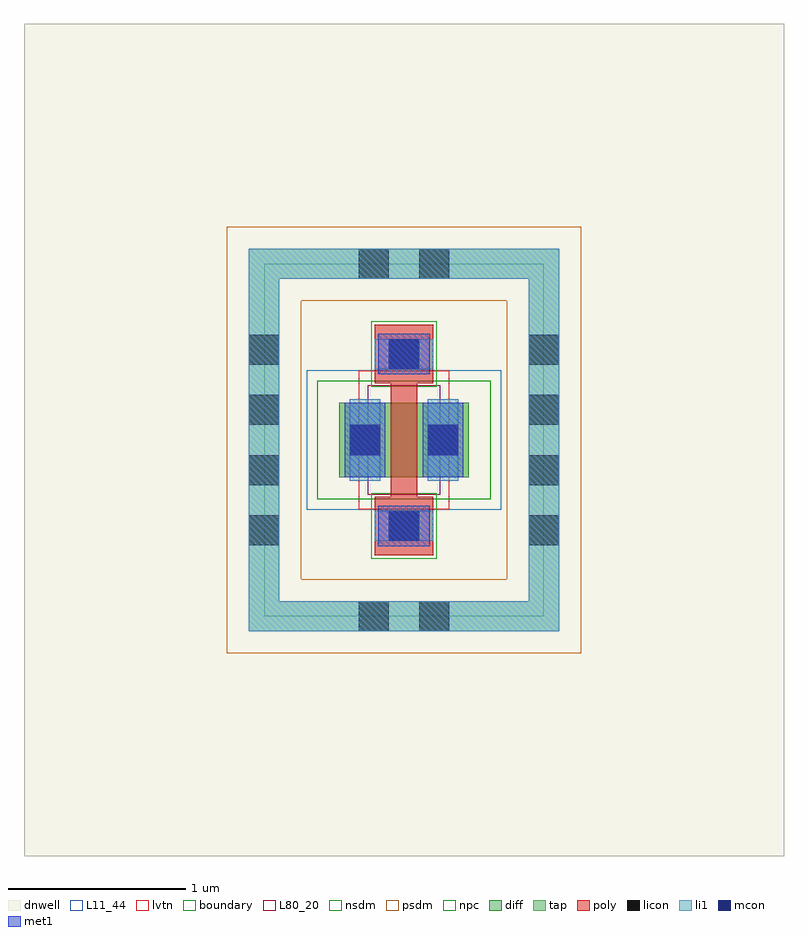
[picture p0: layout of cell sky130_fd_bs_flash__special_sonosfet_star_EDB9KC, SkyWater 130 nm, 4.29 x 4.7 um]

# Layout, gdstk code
import gdstk
lib = gdstk.Library(unit=1e-6, precision=1e-09)
def R(c, l, rs):  # rectangles x0, y0, x1, y1
    for r in rs: c.add(gdstk.rectangle(r[:2], r[2:], *l))
def A(c, l, x, y, w, h, nx, ny, dx, dy):  # array of equal rectangles
    R(c, l, [(x+i*dx, y+j*dy, x+i*dx+w, y+j*dy+h) for i in range(nx) for j in range(ny)])
L11_44 = (11, 44)
dnwell = (64, 18)
diff = (65, 20)
tap = (65, 44)
poly = (66, 20)
licon = (66, 44)
li1 = (67, 20)
mcon = (67, 44)
met1 = (68, 20)
L80_20 = (80, 20)
nsdm = (93, 44)
psdm = (94, 20)
npc = (95, 20)
lvtn = (125, 44)
boundary = (235, 4)

sky130_fd_bs_flash__spec = lib.new_cell('sky130_fd_bs_flash__special_sonosfet_star_EDB9KC')
R(sky130_fd_bs_flash__spec, L11_44, [(-0.55,-0.395,0.55,0.395)])
R(sky130_fd_bs_flash__spec, dnwell, [(-2.145,-2.35,2.145,2.35)])
R(sky130_fd_bs_flash__spec, diff, [(-0.365,-0.21,0.365,0.21)])
R(sky130_fd_bs_flash__spec, tap, [(-0.875,-1.08,0.875,-0.91), (-0.875,-0.91,-0.705,0.91), (0.705,-0.91,0.875,0.91), (-0.875,0.91,0.875,1.08)])
R(sky130_fd_bs_flash__spec, poly, [(-0.165,-0.65,0.165,-0.32), (-0.075,-0.32,0.075,0.32), (-0.165,0.32,0.165,0.65)])
A(sky130_fd_bs_flash__spec, licon, -0.875, -0.595, 0.17, 0.17, 1, 4, 0, 0.34)
A(sky130_fd_bs_flash__spec, licon, 0.705, -0.595, 0.17, 0.17, 1, 4, 0, 0.34)
R(sky130_fd_bs_flash__spec, licon, [(-0.255,-1.08,-0.085,-0.91), (0.085,-1.08,0.255,-0.91), (-0.085,-0.57,0.085,-0.4), (-0.305,-0.085,-0.135,0.085), (0.135,-0.085,0.305,0.085), (-0.085,0.4,0.085,0.57), (-0.255,0.91,-0.085,1.08), (0.085,0.91,0.255,1.08)])
R(sky130_fd_bs_flash__spec, li1, [(-0.875,-1.08,0.875,-0.91), (-0.875,-0.91,-0.705,0.91), (0.705,-0.91,0.875,0.91), (-0.165,-0.57,0.165,-0.4), (-0.305,-0.23,-0.135,0.23), (0.135,-0.23,0.305,0.23), (-0.165,0.4,0.165,0.57), (-0.875,0.91,0.875,1.08)])
R(sky130_fd_bs_flash__spec, mcon, [(-0.085,-0.57,0.085,-0.4), (-0.305,-0.085,-0.135,0.085), (0.135,-0.085,0.305,0.085), (-0.085,0.4,0.085,0.57)])
R(sky130_fd_bs_flash__spec, met1, [(-0.145,-0.6,0.145,-0.37), (-0.335,-0.21,-0.105,0.21), (0.105,-0.21,0.335,0.21), (-0.145,0.37,0.145,0.6)])
R(sky130_fd_bs_flash__spec, L80_20, [(-0.205,-0.31,0.205,0.31)])
R(sky130_fd_bs_flash__spec, nsdm, [(-0.49,-0.335,0.49,0.335)])
R(sky130_fd_bs_flash__spec, psdm, [(-1,-1.205,1,-0.785), (-1,-0.785,-0.58,0.785), (0.58,-0.785,1,0.785), (-1,0.785,1,1.205)])
R(sky130_fd_bs_flash__spec, npc, [(-0.185,-0.67,0.185,-0.3), (-0.185,0.3,0.185,0.67)])
R(sky130_fd_bs_flash__spec, lvtn, [(-0.255,-0.39,0.255,0.39)])
R(sky130_fd_bs_flash__spec, boundary, [(-0.79,-0.995,0.79,0.995)])

lib.write_gds('sky130_fd_bs_flash__special_sonosfet_star_EDB9KC.gds')
